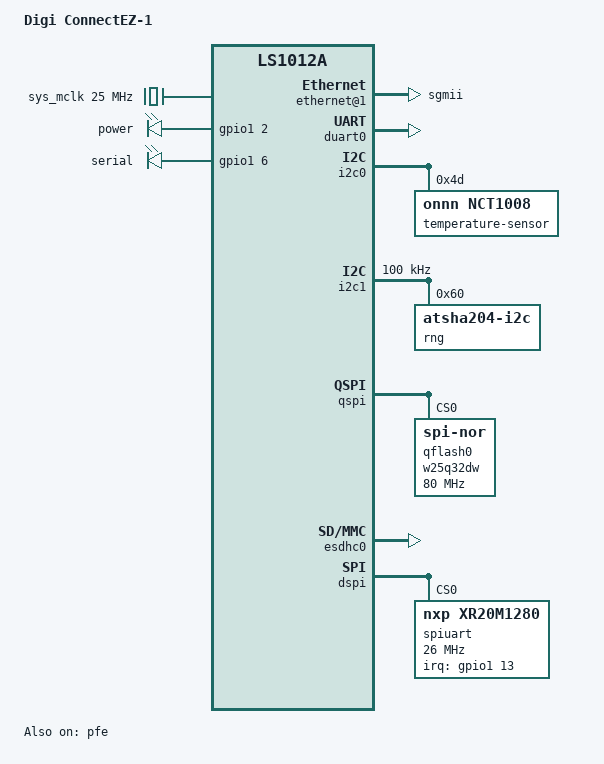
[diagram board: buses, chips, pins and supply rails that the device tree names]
// SPDX-License-Identifier: (GPL-2.0+ OR MIT)
/*
 * Device Tree Include file for Digi ConnectEZ-1.
 *
 * Copyright 2016 Freescale Semiconductor, Inc.
 * Copyright 2018 Digi Inc.
 *
 * Mingkai Hu <mingkai.hu@nxp.com>
 * Greg Ungerer <gregory.ungerer@digi.com>
 */

/dts-v1/;

#include "fsl-ls1012a.dtsi"
#include <dt-bindings/interrupt-controller/arm-gic.h>
#include <dt-bindings/gpio/gpio.h>

/ {
	model = "Digi ConnectEZ-1";
	compatible = "digi,connectez1", "fsl,ls1012a";

	aliases {
		serial0 = &duart0;
	};

	chosen {
		stdout-path = "serial0:115200n8";
	};

	sys_mclk: clock-mclk {
		compatible = "fixed-clock";
		#clock-cells = <0>;
		clock-frequency = <25000000>;
	};

	uartclk: clock-uartclk {
		compatible = "fixed-clock";
		#clock-cells = <0>;
		clock-frequency = <14745600>;
	};

	soc {
		rcpm: rcpm@1ee2000 {
			compatible = "fsl,ls1012a-rcpm", "fsl,qoriq-rcpm-2.1";
			reg = <0x0 0x1ee2000 0x0 0x1000>;
			fsl,#rcpm-wakeup-cells = <1>;
		};
	};

	reserved-memory {
		#address-cells = <2>;
		#size-cells = <2>;
		ranges;

		pfe_reserved: packetbuffer@83400000 {
			reg = <0 0x83400000 0 0xc00000>;
		};
	};

	pfe: pfe@04000000 {
		status = "okay";
		compatible = "fsl,pfe";
		reg =   <0x0 0x04000000 0x0 0xc00000>,	/* AXI 16M */
			<0x0 0x83400000 0x0 0xc00000>;  /* PFE DDR 12M */
		reg-names = "pfe", "pfe-ddr";
		fsl,pfe-num-interfaces = <0x2>;
		interrupts = <0 172 0x4>,    /* HIF interrupt */
			     <0 173 0x4>,    /*HIF_NOCPY interrupt */
			     <0 174 0x4>;    /* WoL interrupt */
		interrupt-names = "pfe_hif", "pfe_hif_nocpy", "pfe_wol";
		memory-region = <&pfe_reserved>;
		fsl,pfe-scfg = <&scfg 0>;
		fsl,rcpm-wakeup = <&rcpm 0xf0000020>;
		clocks = <&clockgen 4 0>;
		clock-names = "pfe";
	};

	leds {
		compatible = "gpio-leds";

		power-led {
			label = "power";
			pinctrl-names = "default";
			gpios = <&gpio1 2 GPIO_ACTIVE_HIGH>;
			linux,default-trigger = "default-on";
		};

		serial-led {
			label = "serial";
			pinctrl-names = "default";
			gpios = <&gpio1 6 GPIO_ACTIVE_HIGH>;
			linux,default-trigger = "none";
		};
	};
};

&duart0 {
	status = "okay";
};

&i2c0 {
	status = "okay";

	temperature-sensor@4d {
		compatible = "onnn,nct1008"; /* nct72 reg/pin compatible */
		reg = <0x4d>;
	};
};

&i2c1 {
	clock-frequency = <100000>;
	status = "okay";

	rng: atecc508a@60 {
		compatible = "atsha204-i2c";
		reg = <0x60>;
	};
};

&qspi {
	num-cs = <1>;
	bus-num = <0>;
	status = "okay";

	qflash0: w25q32dw@0 {
		compatible = "jedec,spi-nor";
		#address-cells = <1>;
		#size-cells = <1>;
		spi-max-frequency = <80000000>;
		spi-rx-bus-width = <1>;
		spi-tx-bus-width = <1>;
		reg = <0>;
	};
};

&pfe {
	status = "okay";
	#address-cells = <1>;
	#size-cells = <0>;

	ethernet@1 {
		compatible = "fsl,pfe-gemac-port";
		#address-cells = <1>;
		#size-cells = <0>;
		reg = <0x0>;    /* GEM_ID */
		fsl,gemac-bus-id = <0x0>; /* BUS_ID */
		fsl,gemac-phy-id = <0x0>; /* PHY_ID */
		fsl,mdio-mux-val = <0x0>;
		phy-mode = "sgmii";
		fsl,pfe-phy-if-flags = <0x0>;

		mdio {
			reg = <0x1>; /* enabled/disabled */
		};
	};
};

&usb0 {
	status = "disabled";
};

&usb1 {
	status = "disabled";
};

&esdhc0 {
	mmc-ddr-1_8v;
	mmc-hs200-1_8v;
	mmc-hs400-1_8v;
	mmc-hs200-1_8v;
	status = "okay";
};

&esdhc1 {
	status = "disabled";
};

&gpio1 {
	gpio-line-names = "", "", "", "", "", "", "", "dbg",
			  "", "", "", "", "factory", "", "", "",
			  "", "", "", "", "", "", "", "",
			  "", "", "", "", "", "", "", "";
};

&dspi {
	status = "okay";
	bus-num = <0>;

	spiuart: xr20m1280@0 {
		compatible = "nxp,xr20m1280";
		reg = <0>;
		clocks = <&uartclk>;
		spi-max-frequency = <26000000>;
		interrupt-parent = <&gpio1>;
		interrupts = <13 IRQ_TYPE_EDGE_FALLING>;
		gpio-controller;
		#gpio-cells = <2>;
	};
};
